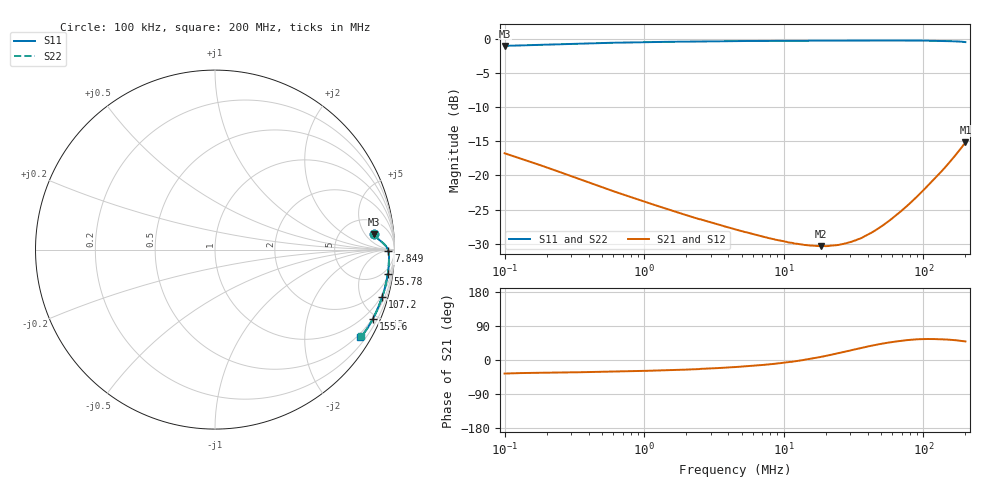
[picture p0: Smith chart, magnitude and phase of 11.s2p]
#  HZ  S  RI  R  50.00
! Rohde & Schwarz Vector Network Analyzer
! Rohde-Schwarz,ZNLE6-2Port,1323001256200024,1.71.1.10-23.02.1.238
! Created: UTC 4/11/2025, 6:45:10 AM
! freq[Hz]  re:S11  im:S11  re:S21  im:S21  re:S12  im:S12  re:S22  im:S22
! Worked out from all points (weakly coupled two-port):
!   1001 points, 100 kHz to 200 MHz, reference 50 ohm
!   highest |S21| = -15.17 dB at 200 MHz (marker M1); lowest = -30.3 dB at 18.53 MHz (marker M2)
!   lowest |S11| = -1.0 dB at 100 kHz (marker M3), VSWR 16.76, Z = 513 + j407 ohm
!   |S11| at or under -10 dB: nowhere
!   |S22| runs from -1.0 to -0.2 dB; largest |S21 - S12| = 0.0032
!   S11 on the Smith chart (normalised r, x): 100 kHz: 10, +8; 7.849 MHz: 55, -13; 55.78 MHz: 3, -14; 107.2 MHz: 0.85, -7.12; 155.6 MHz: 0.47, -4.74; 200 MHz: 0.38, -3.55
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100000  0.8834 0.0843  0.118 -0.0849  0.1181 -0.085  0.8831 0.0842
185090.2  0.9029 0.0646  0.0981 -0.0652  0.0982 -0.0653  0.9027 0.0645
355854.1  0.9224 0.0486  0.0784 -0.0494  0.0785 -0.0495  0.9222 0.0486
1266322  0.9476 0.0249  0.0527 -0.0277  0.0527 -0.0277  0.9476 0.0251
2397897  0.9558 0.0152  0.0442 -0.0199  0.0442 -0.0198  0.9558 0.0153
4472136  0.962 0.00419  0.0383 -0.013  0.0382 -0.0132  0.9622 0.00525
7848582  0.9659 -0.00775  0.0341 -0.00693  0.034 -0.00735  0.9662 -0.00699
1.201293e7  0.9684 -0.0207  0.0317 -0.00179  0.0318 -0.00254  0.9683 -0.0194
1.591428e7  0.9692 -0.0313  0.0306 0.00204  0.0306 0.00177  0.9694 -0.0304
1.852711e7  0.9696 -0.0388  0.0301 0.00447  0.0302 0.00385  0.9697 -0.0374
2.435817e7  0.9697 -0.0542  0.0295 0.00939  0.0296 0.0091  0.9699 -0.0527
3.202446e7  0.969 -0.0743  0.0295 0.0154  0.0296 0.0153  0.9692 -0.0725
3.616581e7  0.9681 -0.0854  0.0295 0.0186  0.0299 0.018  0.9685 -0.0829
4.242481e7  0.9668 -0.1019  0.0302 0.0232  0.0309 0.0224  0.9672 -0.0988
5.577723e7  0.9625 -0.1357  0.032 0.0329  0.0325 0.0322  0.9632 -0.1321
5.663162e7  0.9622 -0.1379  0.0322 0.0335  0.0327 0.0328  0.9629 -0.1343
7.675386e7  0.9527 -0.1883  0.0366 0.0477  0.0375 0.0469  0.9536 -0.1839
1.072372e8  0.9317 -0.2634  0.0476 0.069  0.049 0.068  0.9335 -0.2582
1.286975e8  0.9116 -0.3164  0.0583 0.0832  0.0597 0.0821  0.9142 -0.3108
1.55631e8  0.8805 -0.3844  0.0753 0.1016  0.0769 0.1001  0.8844 -0.3767
1.744261e8  0.8545 -0.4304  0.0901 0.1143  0.0923 0.1124  0.8587 -0.4223
2e8  0.8089 -0.4895  0.1145 0.1317  0.1168 0.1295  0.8153 -0.4818
